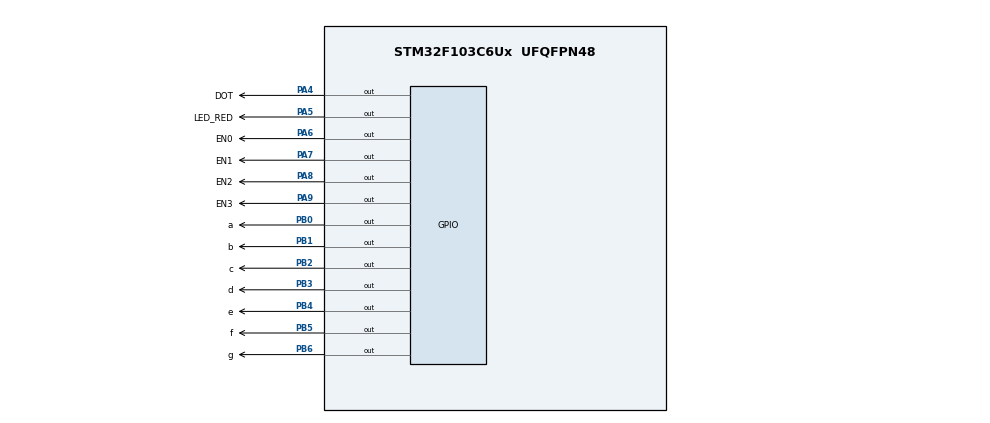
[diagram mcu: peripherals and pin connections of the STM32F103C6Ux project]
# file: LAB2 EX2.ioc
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Mcu.Family=STM32F1
Mcu.Name=STM32F103C6Ux
Mcu.Package=UFQFPN48
NVIC.PriorityGroup=NVIC_PRIORITYGROUP_4
NVIC.TIM2_IRQn=true\:0\:0\:false\:false\:true\:true\:true
PA4.GPIO_Label=DOT
PA4.Signal=GPIO_Output
PA5.GPIO_Label=LED_RED
PA5.Signal=GPIO_Output
PA6.GPIO_Label=EN0
PA6.Signal=GPIO_Output
PA7.GPIO_Label=EN1
PA7.Signal=GPIO_Output
PA8.GPIO_Label=EN2
PA8.Signal=GPIO_Output
PA9.GPIO_Label=EN3
PA9.Signal=GPIO_Output
PB0.GPIO_Label=a
PB0.Signal=GPIO_Output
PB1.GPIO_Label=b
PB1.Signal=GPIO_Output
PB2.GPIO_Label=c
PB2.Signal=GPIO_Output
PB3.GPIO_Label=d
PB3.Signal=GPIO_Output
PB4.GPIO_Label=e
PB4.Signal=GPIO_Output
PB5.GPIO_Label=f
PB5.Signal=GPIO_Output
PB6.GPIO_Label=g
PB6.Signal=GPIO_Output
ProjectManager.HeapSize=0x200
ProjectManager.StackSize=0x400
ProjectManager.TargetToolchain=STM32CubeIDE
RCC.APB1Freq_Value=8000000
RCC.APB2Freq_Value=8000000
TIM2.Period=9
TIM2.Prescaler=7999
VP_SYS_VS_ND.Mode=No_Debug
VP_TIM2_VS_ClockSourceINT.Mode=Internal
board=custom

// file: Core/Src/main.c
/* USER CODE BEGIN Header */
/**
  ******************************************************************************
  * @file           : main.c
  * @brief          : Main program body
  ******************************************************************************
  * @attention
  *
  * <h2><center>&copy; Copyright (c) 2022 STMicroelectronics.
  * All rights reserved.</center></h2>
  *
  * This software component is licensed by ST under BSD 3-Clause license,
  * the "License"; You may not use this file except in compliance with the
  * License. You may obtain a copy of the License at:
  *                        opensource.org/licenses/BSD-3-Clause
  *
  ******************************************************************************
  */
/* USER CODE END Header */
#include "main.h"

TIM_HandleTypeDef htim2;

void SystemClock_Config(void);
static void MX_GPIO_Init(void);
static void MX_TIM2_Init(void);

/* USER CODE BEGIN 0 */
void display7SEG(int status){
	if(status == 1){
		HAL_GPIO_WritePin(a_GPIO_Port, a_Pin, SET);
		HAL_GPIO_WritePin(b_GPIO_Port, b_Pin, RESET);
		HAL_GPIO_WritePin(c_GPIO_Port, c_Pin, RESET);
		HAL_GPIO_WritePin(g_GPIO_Port, g_Pin, SET);
		HAL_GPIO_WritePin(e_GPIO_Port, e_Pin, SET);
		HAL_GPIO_WritePin(d_GPIO_Port, d_Pin, SET);
		HAL_GPIO_WritePin(f_GPIO_Port, f_Pin, SET);
	}

	if(status==2){
		HAL_GPIO_WritePin(a_GPIO_Port, a_Pin, RESET);
		HAL_GPIO_WritePin(b_GPIO_Port, b_Pin, RESET);
		HAL_GPIO_WritePin(c_GPIO_Port, c_Pin, SET);
		HAL_GPIO_WritePin(d_GPIO_Port, d_Pin, RESET);
		HAL_GPIO_WritePin(e_GPIO_Port, e_Pin, RESET);
		HAL_GPIO_WritePin(f_GPIO_Port, f_Pin, SET);
		HAL_GPIO_WritePin(g_GPIO_Port, g_Pin, RESET);

	}
	if(status==3){
		HAL_GPIO_WritePin(a_GPIO_Port, a_Pin, RESET);
		HAL_GPIO_WritePin(b_GPIO_Port, b_Pin, RESET);
		HAL_GPIO_WritePin(c_GPIO_Port, c_Pin, RESET);
		HAL_GPIO_WritePin(d_GPIO_Port, d_Pin, RESET);
		HAL_GPIO_WritePin(e_GPIO_Port, e_Pin, SET);
		HAL_GPIO_WritePin(f_GPIO_Port, f_Pin, SET);
		HAL_GPIO_WritePin(g_GPIO_Port, g_Pin, RESET);

	}
	if(status==0){
		HAL_GPIO_WritePin(a_GPIO_Port, a_Pin, RESET);
		HAL_GPIO_WritePin(b_GPIO_Port, b_Pin, RESET);
		HAL_GPIO_WritePin(c_GPIO_Port, c_Pin, RESET);
		HAL_GPIO_WritePin(d_GPIO_Port, d_Pin, RESET);
		HAL_GPIO_WritePin(e_GPIO_Port, e_Pin, RESET);
		HAL_GPIO_WritePin(f_GPIO_Port, f_Pin, RESET);
		HAL_GPIO_WritePin(g_GPIO_Port, g_Pin, SET);

	}

}

/* USER CODE END 0 */

int main(void)
{

  /* MCU Configuration--------------------------------------------------------*/

  /* Reset of all peripherals, Initializes the Flash interface and the Systick. */
  HAL_Init();

  /* Configure the system clock */
  SystemClock_Config();

  /* Initialize all configured peripherals */
  MX_GPIO_Init();
  MX_TIM2_Init();
  /* USER CODE BEGIN 2 */
  HAL_TIM_Base_Start_IT (& htim2 ) ;

  /* USER CODE END 2 */

  /* Infinite loop */
  /* USER CODE BEGIN WHILE */
	HAL_GPIO_WritePin(EN0_GPIO_Port, EN0_Pin, RESET);
	HAL_GPIO_WritePin(EN1_GPIO_Port, EN1_Pin, SET);
	HAL_GPIO_WritePin(EN2_GPIO_Port, EN2_Pin, SET);
	HAL_GPIO_WritePin(EN3_GPIO_Port, EN3_Pin, SET);
	HAL_GPIO_WritePin(LED_RED_GPIO_Port, LED_RED_Pin, SET);
	display7SEG(1);
	HAL_GPIO_WritePin(DOT_GPIO_Port, DOT_Pin, SET);

  while (1)
  {
    /* USER CODE END WHILE */

  }
}

void SystemClock_Config(void)
{
  RCC_OscInitTypeDef RCC_OscInitStruct = {0};
  RCC_ClkInitTypeDef RCC_ClkInitStruct = {0};

  /** Initializes the RCC Oscillators according to the specified parameters
  * in the RCC_OscInitTypeDef structure.
  */
  RCC_OscInitStruct.OscillatorType = RCC_OSCILLATORTYPE_HSI;
  RCC_OscInitStruct.HSIState = RCC_HSI_ON;
  RCC_OscInitStruct.HSICalibrationValue = RCC_HSICALIBRATION_DEFAULT;
  RCC_OscInitStruct.PLL.PLLState = RCC_PLL_NONE;
  if (HAL_RCC_OscConfig(&RCC_OscInitStruct) != HAL_OK)
  {
    Error_Handler();
  }
  /** Initializes the CPU, AHB and APB buses clocks
  */
  RCC_ClkInitStruct.ClockType = RCC_CLOCKTYPE_HCLK|RCC_CLOCKTYPE_SYSCLK
                              |RCC_CLOCKTYPE_PCLK1|RCC_CLOCKTYPE_PCLK2;
  RCC_ClkInitStruct.SYSCLKSource = RCC_SYSCLKSOURCE_HSI;
  RCC_ClkInitStruct.AHBCLKDivider = RCC_SYSCLK_DIV1;
  RCC_ClkInitStruct.APB1CLKDivider = RCC_HCLK_DIV1;
  RCC_ClkInitStruct.APB2CLKDivider = RCC_HCLK_DIV1;

  if (HAL_RCC_ClockConfig(&RCC_ClkInitStruct, FLASH_LATENCY_0) != HAL_OK)
  {
    Error_Handler();
  }
}

static void MX_TIM2_Init(void)
{

  TIM_ClockConfigTypeDef sClockSourceConfig = {0};
  TIM_MasterConfigTypeDef sMasterConfig = {0};

  htim2.Instance = TIM2;
  htim2.Init.Prescaler = 7999;
  htim2.Init.CounterMode = TIM_COUNTERMODE_UP;
  htim2.Init.Period = 9;
  htim2.Init.ClockDivision = TIM_CLOCKDIVISION_DIV1;
  htim2.Init.AutoReloadPreload = TIM_AUTORELOAD_PRELOAD_DISABLE;
  if (HAL_TIM_Base_Init(&htim2) != HAL_OK)
  {
    Error_Handler();
  }
  sClockSourceConfig.ClockSource = TIM_CLOCKSOURCE_INTERNAL;
  if (HAL_TIM_ConfigClockSource(&htim2, &sClockSourceConfig) != HAL_OK)
  {
    Error_Handler();
  }
  sMasterConfig.MasterOutputTrigger = TIM_TRGO_RESET;
  sMasterConfig.MasterSlaveMode = TIM_MASTERSLAVEMODE_DISABLE;
  if (HAL_TIMEx_MasterConfigSynchronization(&htim2, &sMasterConfig) != HAL_OK)
  {
    Error_Handler();
  }

}

static void MX_GPIO_Init(void)
{
  GPIO_InitTypeDef GPIO_InitStruct = {0};

  /* GPIO Ports Clock Enable */
  __HAL_RCC_GPIOA_CLK_ENABLE();
  __HAL_RCC_GPIOB_CLK_ENABLE();

  /*Configure GPIO pin Output Level */
  HAL_GPIO_WritePin(GPIOA, DOT_Pin|LED_RED_Pin|EN0_Pin|EN1_Pin
                          |EN2_Pin|EN3_Pin, GPIO_PIN_RESET);

  /*Configure GPIO pin Output Level */
  HAL_GPIO_WritePin(GPIOB, a_Pin|b_Pin|c_Pin|d_Pin
                          |e_Pin|f_Pin|g_Pin, GPIO_PIN_RESET);

  /*Configure GPIO pins : DOT_Pin LED_RED_Pin EN0_Pin EN1_Pin
                           EN2_Pin EN3_Pin */
  GPIO_InitStruct.Pin = DOT_Pin|LED_RED_Pin|EN0_Pin|EN1_Pin
                          |EN2_Pin|EN3_Pin;
  GPIO_InitStruct.Mode = GPIO_MODE_OUTPUT_PP;
  GPIO_InitStruct.Pull = GPIO_NOPULL;
  GPIO_InitStruct.Speed = GPIO_SPEED_FREQ_LOW;
  HAL_GPIO_Init(GPIOA, &GPIO_InitStruct);

  /*Configure GPIO pins : a_Pin b_Pin c_Pin d_Pin
                           e_Pin f_Pin g_Pin */
  GPIO_InitStruct.Pin = a_Pin|b_Pin|c_Pin|d_Pin
                          |e_Pin|f_Pin|g_Pin;
  GPIO_InitStruct.Mode = GPIO_MODE_OUTPUT_PP;
  GPIO_InitStruct.Pull = GPIO_NOPULL;
  GPIO_InitStruct.Speed = GPIO_SPEED_FREQ_LOW;
  HAL_GPIO_Init(GPIOB, &GPIO_InitStruct);

}

/* USER CODE BEGIN 4 */
int counter = 50;
int status = 1;
void HAL_TIM_PeriodElapsedCallback ( TIM_HandleTypeDef * htim ){
	counter --;
	if( counter <= 0) {
		counter = 50;
		HAL_GPIO_TogglePin(LED_RED_GPIO_Port, LED_RED_Pin);
		if(status == 1){
			HAL_GPIO_WritePin(EN0_GPIO_Port, EN0_Pin, RESET);
			HAL_GPIO_WritePin(EN1_GPIO_Port, EN1_Pin, SET);
			HAL_GPIO_WritePin(EN2_GPIO_Port, EN2_Pin, SET);
			HAL_GPIO_WritePin(EN3_GPIO_Port, EN3_Pin, SET);
			HAL_GPIO_WritePin(DOT_GPIO_Port, DOT_Pin, SET);

			display7SEG(status);
			status = 2;
		}
		else if(status == 2){
			HAL_GPIO_WritePin(EN0_GPIO_Port, EN0_Pin, SET);
			HAL_GPIO_WritePin(EN1_GPIO_Port, EN1_Pin, RESET);
			HAL_GPIO_WritePin(EN2_GPIO_Port, EN2_Pin, SET);
			HAL_GPIO_WritePin(EN3_GPIO_Port, EN3_Pin, SET);
			HAL_GPIO_WritePin(DOT_GPIO_Port, DOT_Pin, SET);

			display7SEG(status);
			status = 3;
		}
		else if(status == 3){
			HAL_GPIO_WritePin(EN0_GPIO_Port, EN0_Pin, SET);
			HAL_GPIO_WritePin(EN1_GPIO_Port, EN1_Pin, SET);
			HAL_GPIO_WritePin(EN2_GPIO_Port, EN2_Pin, RESET);
			HAL_GPIO_WritePin(EN3_GPIO_Port, EN3_Pin, SET);
			HAL_GPIO_WritePin(DOT_GPIO_Port, DOT_Pin, RESET);

			display7SEG(status);
			status = 0;
		}
		else {
			HAL_GPIO_WritePin(EN0_GPIO_Port, EN0_Pin, SET);
			HAL_GPIO_WritePin(EN1_GPIO_Port, EN1_Pin, SET);
			HAL_GPIO_WritePin(EN2_GPIO_Port, EN2_Pin, SET);
			HAL_GPIO_WritePin(EN3_GPIO_Port, EN3_Pin, RESET);
			HAL_GPIO_WritePin(DOT_GPIO_Port, DOT_Pin, RESET);

			display7SEG(status);
			status = 1;
		}
}
}
/* USER CODE END 4 */

void Error_Handler(void)
{
  __disable_irq();
  while (1)
  {
  }
}

/************************ (C) COPYRIGHT STMicroelectronics *****END OF FILE****/
